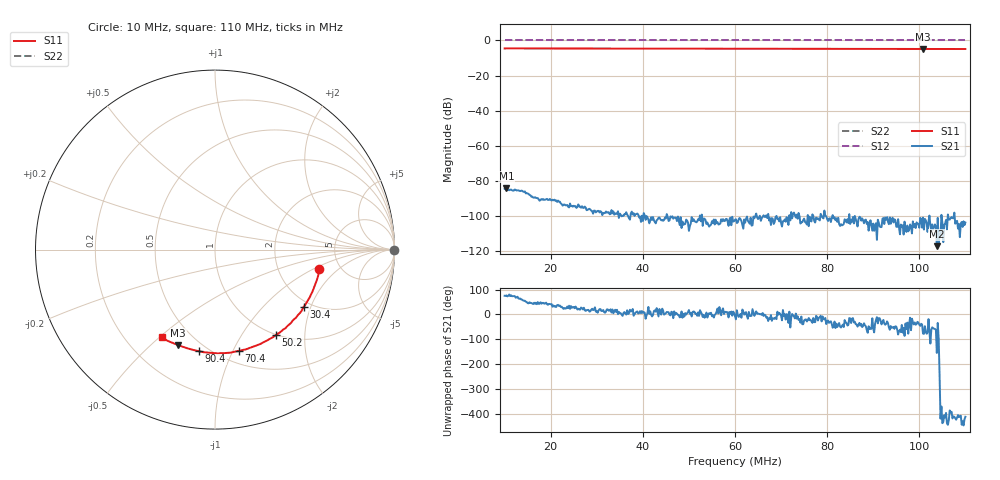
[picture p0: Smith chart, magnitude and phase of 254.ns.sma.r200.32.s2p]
! Anritsu VNA Master:  Model: MS2036C/10/77
! SN:  1601066
! /card0/usr/254.ns.sma.r200.32.s2p
! Existing Calibration Information:
! TYPE:  Current Settings,  Active Cal Settings
! TIME:  12/20/2017 02:15:31 PM,  12/20/2017 02:00:00 PM
! INTERNAL TEMP:  47.5 C,  47.0 C
! # POINTS:  501,  501
! START FREQ:  10.000 MHz,  10.000 MHz
! STOP FREQ:  110.000 MHz,  110.000 MHz
! SOURCE POWER:  High,  High
! IFBW:  100 Hz,  100 Hz
! AVG FACTOR:  1 ,  1
! REF PLANE 1:  0 mm,  0 mm
! REF PLANE 2:  0 mm,  0 mm
! CAL TYPE:  Full S11,  Full S11
! CAL METHOD:  SOLT,  SOLT
! CAL LINE TYPE:  Coax,  Coax
! DUT PORT 1:  N-Conn(F),  N-Conn(F)
! DUT PORT 2:  K-Conn(F),  K-Conn(F)
! CAL STATUS:  OK: Accuracy High,  --
# GHZ S DB R 50.0
! FREQ.GHZ  S11DB  S11A  S21DB  S21A  S12DB  S12A  S22DB  S22A
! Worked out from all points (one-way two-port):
!   501 points, 10 MHz to 110 MHz, reference 50 ohm
!   highest |S21| = -84.19 dB at 10.4 MHz (marker M1); lowest = -117.0 dB at 103.8 MHz (marker M2)
!   lowest |S11| = -4.9 dB at 100.8 MHz (marker M3), VSWR 3.65, Z = 19.5 - j30.6 ohm
!   |S11| at or under -10 dB: nowhere
!   |S22| runs from 0.0 to 0.0 dB; largest |S21 - S12| = 1
!   S11 on the Smith chart (normalised r, x): 10 MHz: 3.47, -1.18; 30.4 MHz: 1.84, -1.79; 50.2 MHz: 0.99, -1.44; 70.4 MHz: 0.62, -1.05; 90.4 MHz: 0.45, -0.75; 110 MHz: 0.35, -0.51
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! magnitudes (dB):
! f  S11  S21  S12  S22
! 10 MHz  -4.6  -84.4  0.0  0.0
! 10.4 MHz  -4.5  -84.2  0.0  0.0
! 26.8 MHz  -4.6  -94.3  0.0  0.0
! 30.4 MHz  -4.6  -97.0  0.0  0.0
! 33.2 MHz  -4.6  -96.5  0.0  0.0
! 37.2 MHz  -4.6  -101.9  0.0  0.0
! 38.8 MHz  -4.6  -98.5  0.0  0.0
! 40.6 MHz  -4.6  -102.0  0.0  0.0
! 43.4 MHz  -4.6  -100.9  0.0  0.0
! 44.6 MHz  -4.6  -102.2  0.0  0.0
! 46 MHz  -4.6  -100.1  0.0  0.0
! 50.2 MHz  -4.7  -105.6  0.0  0.0
! 60 MHz  -4.7  -102.0  0.0  0.0
! 70.4 MHz  -4.7  -102.9  0.0  0.0
! 76.8 MHz  -4.7  -98.9  0.0  0.0
! 81 MHz  -4.8  -101.0  0.0  0.0
! 90.4 MHz  -4.8  -105.4  0.0  0.0
! 93.4 MHz  -4.9  -104.5  0.0  0.0
! 100.8 MHz  -4.9  -100.8  0.0  0.0
! 103.8 MHz  -4.9  -117.0  0.0  0.0
! 107 MHz  -4.8  -100.5  0.0  0.0
! 110 MHz  -4.9  -103.6  0.0  0.0
